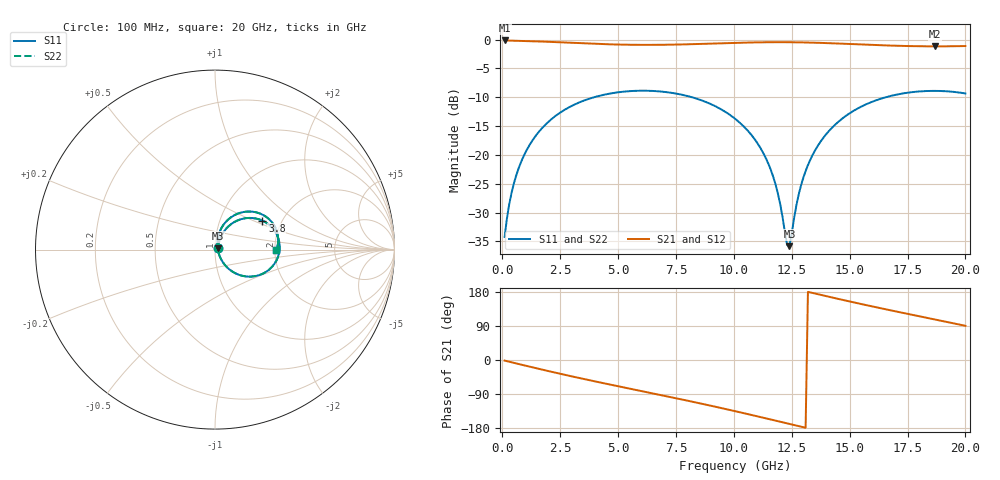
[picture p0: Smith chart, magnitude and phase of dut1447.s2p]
! Touchstone file exported from HFSS 2026.1.0
!  File:  C:/ffzhzh/LocalFiles/Ansys_Project_Files/temp_train_TSV_RDL_1447_1783358351_4416.aedt
!  Generated:  01:29:53 AM Jul  7, 2026
!  Design:  TSV_RDL
!  Project:  temp_train_TSV_RDL_1447_1783358351_4416
! Variables:
!  h_bsmrdl = 5.45um
!  h_ox = 20um
!  h_rdl = 5um
!  h_sub = 58.2um
!  h_tmrdl = 4.62um
!  h_tsv = 58.2um
!  h_via = 3um
!  l_bsmrdl = 951.6um
!  l_sub = 4649.58um
!  l_tmrdl = 318.68um
!  m_sub = 200um
!  pitch = 41.31um
!  r_tsv = 13.9um
!  s_tmrdl = 10um
!  w_bsmrdl = 25.74um
!  w_sub = 500um
!  w_tmrdl = 14.28um
!  x_tsv_center1 = 325.82um
!  x_tsv_center2 = 1303.16um
!  x_tsv_center3 = 1636.12um
!  x_tsv_center4 = 2613.46um
!  x_tsv_center5 = 2946.42um
!  x_tsv_center6 = 3923.76um
# GHz S MA R 50.000000
! Terminal data exported
! Port[1] = TM_RDL1_1_T1
! Port[2] = TM_RDL5_1_T1
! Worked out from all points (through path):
!   200 points, 100 MHz to 20 GHz, reference 50 ohm
!   highest |S21| = -0.13 dB at 100 MHz (marker M1); lowest = -1.2 dB at 18.7 GHz (marker M2)
!   group delay of S21, straight-line fit = 37.5 ps
!   lowest |S11| = -35.8 dB at 12.4 GHz (marker M3), VSWR 1.03, Z = 51.5 + j0.662 ohm
!   |S11| at or under -10 dB: start of sweep to 3.958 GHz; 8.199 GHz to 16.56 GHz (8.356 GHz wide, 67.5 % of centre)
!   |S22| runs from -36.0 to -8.9 dB; largest |S21 - S12| = 1.8e-14
!   S11 on the Smith chart (normalised r, x): 100 MHz: 1.03, +0.02; 3.8 GHz: 1.59, +0.57; 20 GHz: 2.04, -0.01
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0.1  0.01939 36.3  0.9846 -1.6  0.9846 -1.6  0.01939 36.3
! Gamma 0 0 0 0
! Port Impedance 50 0 50 0
0.3  0.03732 58.0  0.9823 -4.6  0.9823 -4.6  0.03732 58.0
0.5  0.05646 63.7  0.9805 -7.6  0.9805 -7.6  0.05646 63.7
1.1  0.1145 63.6  0.9735 -16.4  0.9735 -16.4  0.1145 63.5
2.1  0.2024 52.8  0.9562 -30.8  0.9562 -30.8  0.2024 52.8
3.5  0.2947 35.2  0.9286 -49.9  0.9286 -49.9  0.2947 35.2
3.8  0.3093 31.5  0.9233 -53.8  0.9233 -53.8  0.3093 31.5
5.3  0.3549 13.2  0.9049 -73.0  0.9049 -73.0  0.3549 13.1
6.8  0.3556 -4.9  0.9027 -92.0  0.9027 -92.0  0.3556 -4.9
8.5  0.3027 -25.5  0.9177 -113.9  0.9177 -113.9  0.3027 -25.6
10.1  0.2024 -45.1  0.9388 -135.7  0.9388 -135.7  0.2024 -45.2
10.9  0.1367 -54.0  0.9471 -147.0  0.9471 -147.0  0.1367 -54.1
11.5  0.08295 -58.0  0.9507 -155.6  0.9507 -155.6  0.08293 -58.2
11.9  0.04644 -54.9  0.9515 -161.4  0.9515 -161.4  0.04638 -55.2
12.3  0.01651 -9.3  0.951 -167.2  0.951 -167.2  0.01623 -9.9
12.4  0.01613 23.5  0.9506 -168.7  0.9506 -168.7  0.01582 23.6
12.8  0.04521 72.7  0.9484 -174.5  0.9484 -174.5  0.04505 73.1
13.4  0.09971 75.5  0.9426 176.9  0.9426 176.9  0.0996 75.7
14.7  0.208 62.5  0.9229 158.6  0.9229 158.6  0.2079 62.6
16.7  0.322 38.4  0.8896 132.0  0.8896 132.0  0.3219 38.5
18.7  0.3594 14.8  0.8752 106.7  0.8752 106.7  0.3593 14.9
20  0.3413 -0.5  0.8807 90.3  0.8807 90.3  0.3412 -0.4
